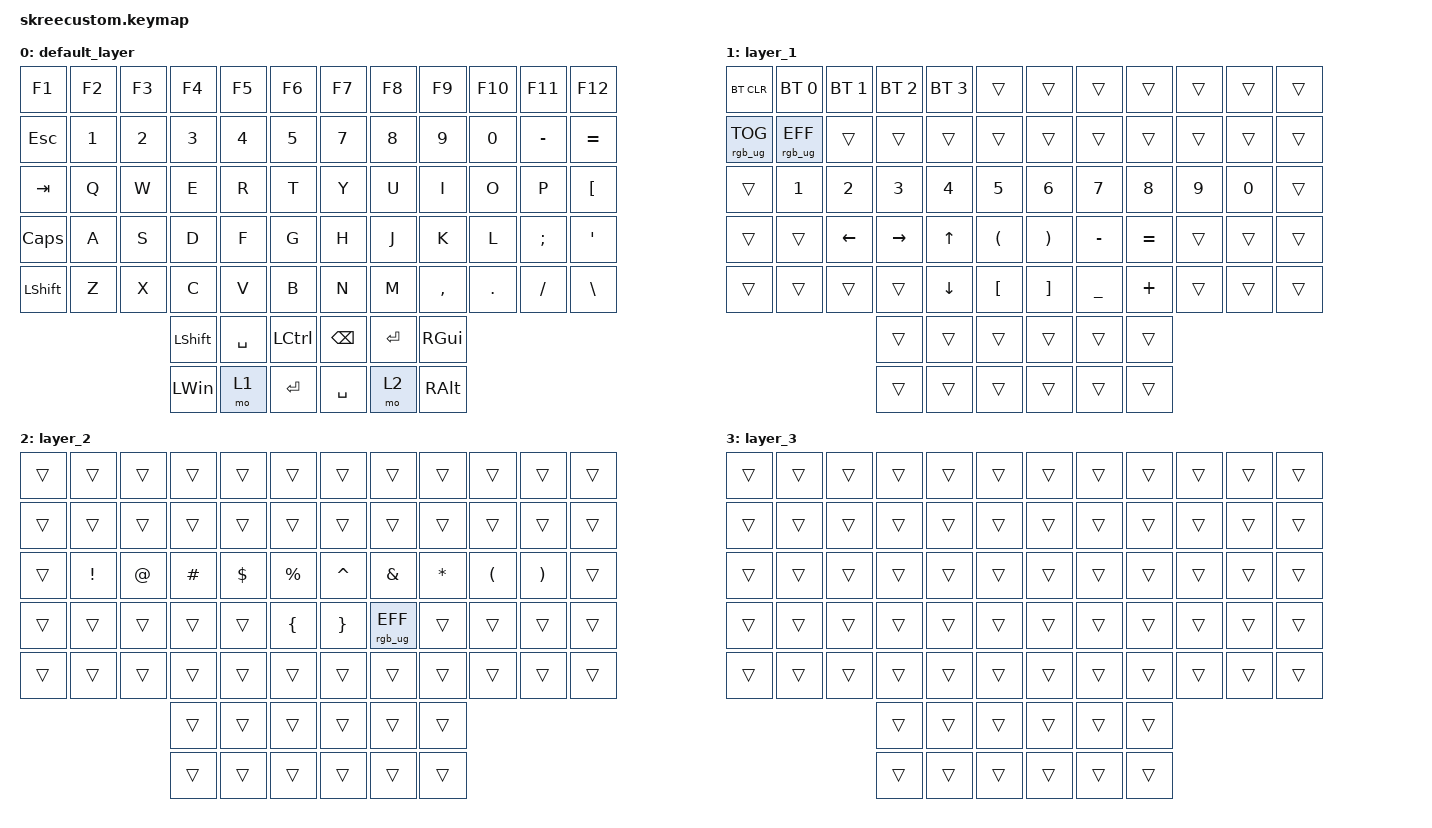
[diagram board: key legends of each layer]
/*
 * Copyright (c) 2020 The ZMK Contributors
 *
 * SPDX-License-Identifier: MIT
 */

#include <input/processors.dtsi>
#include <dt-bindings/zmk/input_transform.h>
#include <behaviors.dtsi>
#include <dt-bindings/zmk/bt.h>
#include <dt-bindings/zmk/keys.h>
#include <dt-bindings/zmk/rgb.h>

/ {
    keymap {
        compatible = "zmk,keymap";

        default_layer {
            bindings = <
&kp F1     &kp F2  &kp F3  &kp F4        &kp F5     &kp F6              &kp F7         &kp F8   &kp F9         &kp F10  &kp F11    &kp F12
&kp ESC    &kp N1  &kp N2  &kp N3        &kp N4     &kp N5              &kp N7         &kp N8   &kp N9         &kp N0   &kp MINUS  &kp EQUAL
&kp TAB    &kp Q   &kp W   &kp E         &kp R      &kp T               &kp Y          &kp U    &kp I          &kp O    &kp P      &kp LBKT
&kp CAPS   &kp A   &kp S   &kp D         &kp F      &kp G               &kp H          &kp J    &kp K          &kp L    &kp SEMI   &kp SQT
&kp LSHFT  &kp Z   &kp X   &kp C         &kp V      &kp B               &kp N          &kp M    &kp COMMA      &kp DOT  &kp FSLH   &kp BSLH
                           &kp LSHFT     &kp SPACE  &kp LEFT_CONTROL    &kp BACKSPACE  &kp RET  &kp RGUI
                           &kp LEFT_WIN  &mo 1      &kp RET             &kp SPACE      &mo 2    &kp RIGHT_ALT
            >;
        };

        layer_1 {
            bindings = <
&bt BT_CLR       &bt BT_SEL 0     &bt BT_SEL 1  &bt BT_SEL 2  &bt BT_SEL 3    &trans                  &trans                 &trans          &trans     &trans  &trans  &trans
&rgb_ug RGB_TOG  &rgb_ug RGB_EFF  &trans        &trans        &trans          &trans                  &trans                 &trans          &trans     &trans  &trans  &trans
&trans           &kp NUMBER_1     &kp NUMBER_2  &kp NUMBER_3  &kp NUMBER_4    &kp N5                  &kp NUMBER_6           &kp N7          &kp N8     &kp N9  &kp N0  &trans
&trans           &trans           &kp LEFT      &kp RIGHT     &kp UP_ARROW    &kp LEFT_PARENTHESIS    &kp RIGHT_PARENTHESIS  &kp MINUS       &kp EQUAL  &trans  &trans  &trans
&trans           &trans           &trans        &trans        &kp DOWN_ARROW  &kp LEFT_BRACKET        &kp RIGHT_BRACKET      &kp UNDERSCORE  &kp PLUS   &trans  &trans  &trans
                                                &trans        &trans          &trans                  &trans                 &trans          &trans
                                                &trans        &trans          &trans                  &trans                 &trans          &trans
            >;
        };

        layer_2 {
            bindings = <
&trans  &trans           &trans       &trans    &trans      &trans            &trans           &trans           &trans        &trans                &trans                 &trans
&trans  &trans           &trans       &trans    &trans      &trans            &trans           &trans           &trans        &trans                &trans                 &trans
&trans  &kp EXCLAMATION  &kp AT_SIGN  &kp HASH  &kp DOLLAR  &kp PERCENT       &kp CARET        &kp AMPERSAND    &kp ASTERISK  &kp LEFT_PARENTHESIS  &kp RIGHT_PARENTHESIS  &trans
&trans  &trans           &trans       &trans    &trans      &kp LEFT_BRACE    &kp RIGHT_BRACE  &rgb_ug RGB_EFF  &trans        &trans                &trans                 &trans
&trans  &trans           &trans       &trans    &trans      &trans            &trans           &trans           &trans        &trans                &trans                 &trans
                                      &trans    &trans      &trans            &trans           &trans           &trans
                                      &trans    &trans      &trans            &trans           &trans           &trans
            >;
        };

        layer_3 {
            bindings = <
&trans  &trans  &trans  &trans  &trans  &trans    &trans  &trans  &trans  &trans  &trans  &trans
&trans  &trans  &trans  &trans  &trans  &trans    &trans  &trans  &trans  &trans  &trans  &trans
&trans  &trans  &trans  &trans  &trans  &trans    &trans  &trans  &trans  &trans  &trans  &trans
&trans  &trans  &trans  &trans  &trans  &trans    &trans  &trans  &trans  &trans  &trans  &trans
&trans  &trans  &trans  &trans  &trans  &trans    &trans  &trans  &trans  &trans  &trans  &trans
                        &trans  &trans  &trans    &trans  &trans  &trans
                        &trans  &trans  &trans    &trans  &trans  &trans
            >;
        };
    };
};

// //right hand trackball overrides
// &trackball_peripheral_listener {
//     input-processors =
//         <&zip_xy_transform INPUT_TRANSFORM_XY_SWAP>,//this gets it to the default installation orientation
//         <&zip_temp_layer 3 500>;//activate layer 3 within 500ms of the trackball moving
// };
// //left hand trackball overrides
// &trackball_central_listener {
//     input-processors = 
//         <&zip_xy_transform INPUT_TRANSFORM_XY_SWAP>,//this gets it to the default installation orientation
//         <&zip_xy_scaler 1 3>,//multiply sensitivity by 1, divide by 3 (make it slower for scrolling)
//         <&zip_xy_to_scroll_mapper>,//make this trackball output scrolling events by default instead of cursor movement
//         <&zip_scroll_transform INPUT_TRANSFORM_Y_INVERT>;//invert vertical scrolling so that the view moves in the same direction as the top of the trackball.
// };
